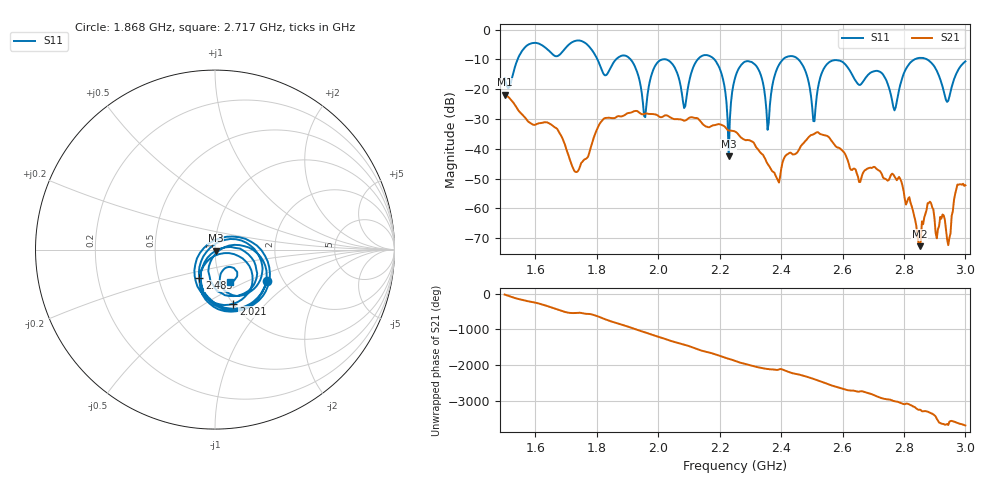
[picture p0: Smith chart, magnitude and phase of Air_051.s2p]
# HZ S RI R 50
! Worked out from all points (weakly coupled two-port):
!   404 points, 1.5 GHz to 3 GHz, reference 50 ohm
!   highest |S21| = -21.86 dB at 1.5 GHz (marker M1); lowest = -72.7 dB at 2.851 GHz (marker M2)
!   lowest |S11| = -42.5 dB at 2.23 GHz (marker M3), VSWR 1.02, Z = 50.4 - j0.646 ohm
!   |S11| at or under -10 dB: 2.183 GHz to 2.406 GHz (223.2 MHz wide, 9.73 % of centre); 2.456 GHz to 2.834 GHz (377.8 MHz wide, 14.3 % of centre); 2.875 GHz to end of sweep (the widest 3 of 7)
!   S12 and S22 are empty: the file has one direction only
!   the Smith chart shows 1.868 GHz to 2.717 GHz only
!   S11 on the Smith chart (normalised r, x): 1.868 GHz: 1.65, -0.65; 2.021 GHz: 1.00, -0.67; 2.483 GHz: 0.80, -0.26; 2.717 GHz: 1.10, -0.42
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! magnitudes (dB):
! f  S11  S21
! 1.5 GHz  -16.5  -21.9
! 1.753 GHz  -3.9  -44.4
! 1.868 GHz  -9.5  -29.1
! 1.958 GHz  -29.4  -28.2
! 2.002 GHz  -10.6  -29.1
! 2.021 GHz  -9.9  -28.8
! 2.084 GHz  -26.3  -30.6
! 2.181 GHz  -9.8  -32.1
! 2.23 GHz  -42.5  -33.9
! 2.252 GHz  -15.6  -34.3
! 2.315 GHz  -11.7  -38.7
! 2.356 GHz  -33.6  -45.1
! 2.39 GHz  -12.5  -50.6
! 2.483 GHz  -14.9  -37.0
! 2.501 GHz  -26.0  -35.3
! 2.561 GHz  -10.7  -36.8
! 2.717 GHz  -14.0  -47.2
! 2.751 GHz  -19.3  -50.5
! 2.851 GHz  -9.5  -72.7
! 2.885 GHz  -10.7  -57.8
! 2.94 GHz  -24.3  -70.4
! 3 GHz  -10.6  -52.3
